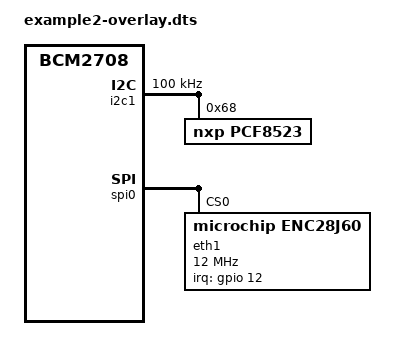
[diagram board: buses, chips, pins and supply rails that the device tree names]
// Example overlay for PCF8523 RTC device + ENC28J60 Ethernet
/dts-v1/;
/plugin/;

/ {
  compatible = "brcm,bcm2708";

  //
  // Set up GPIOs:
  //  I2C1 on GPIO44,45
  //  SPI on GPIO8-11
  //  ENC28J60 interrupt on GPIO12
  //
  fragment@0 {
    target = <&gpio>;
    __overlay__ {
      i2c1_pins: i2c1 {
        brcm,pins = <44 45>;
        brcm,function = <6>; /* alt2 */
      };
      spi0_pins: spi0_pins {
        brcm,pins = <8 9 10 11>;
        brcm,function = <4>; /* alt0 */
      };
      // ENC28J60 Ethernet Interrupt GPIO
      eth1_pins: eth1_pins {
        brcm,pins = <12>;
        brcm,function = <0>; /* in */
        brcm,pull = <0>; /* none */
      };
    };
  };

  //
  // I2C Device(s)
  //
  fragment@1 {
    target = <&i2c1>;
    __overlay__ {
      #address-cells = <1>; /* needed to avoid dtc warning */
      #size-cells = <0>; /* needed to avoid dtc warning */
      pinctrl-names = "default";
      pinctrl-0 = <&i2c1_pins>;
      clock-frequency = <100000>;
      status = "okay";
      // PCF8523 RTC device
      pcf8523@68 { 
        compatible = "nxp,pcf8523";
        reg = <0x68>;
        status = "okay";
      };
    };
  };

  //
  // SPI Device(s)
  //
  fragment@2 {
    target = <&spi0>;
    __overlay__ {
      #address-cells = <1>; /* needed to avoid dtc warning */
      #size-cells = <0>; /* needed to avoid dtc warning */
      pinctrl-names = "default";
      pinctrl-0 = <&spi0_pins>;
      status = "okay";
      // ENC28J60 SPI Device
      eth1: enc28j60@0{
        compatible = "microchip,enc28j60";
        reg = <0>; /* CE0 */
        pinctrl-names = "default";
        pinctrl-0 = <&eth1_pins>;
        interrupt-parent = <&gpio>;
        interrupts = <12 0x2>; /* falling edge */
        spi-max-frequency = <12000000>;
        status = "okay";
      };
    };
  };

};
